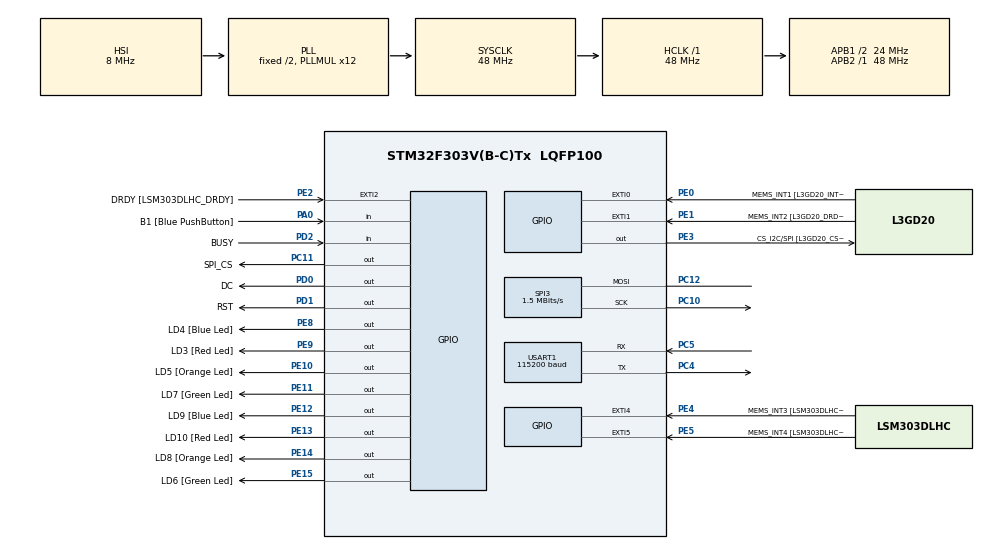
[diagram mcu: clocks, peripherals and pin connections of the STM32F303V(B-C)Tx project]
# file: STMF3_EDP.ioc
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Mcu.Family=STM32F3
Mcu.Name=STM32F303V(B-C)Tx
Mcu.Package=LQFP100
NVIC.PriorityGroup=NVIC_PRIORITYGROUP_0
PA0.GPIO_Label=B1 [Blue PushButton]
PA0.GPIO_Mode=GPIO_MODE_INPUT
PA0.GPIO_PuPd=GPIO_NOPULL
PA0.Signal=GPIO_Input
PA11.GPIO_Label=DM
PA11.Signal=USB_DM
PA12.GPIO_Label=DP
PA12.Signal=USB_DP
PA13.GPIO_Label=SWDIO
PA13.Signal=SYS_JTMS-SWDIO
PA14.GPIO_Label=SWCLK
PA14.Signal=SYS_JTCK-SWCLK
PA5.GPIO_Label=SPI1_SCK [L3GD20_SCL/SPC]
PA5.GPIO_Mode=GPIO_MODE_AF_PP
PA5.GPIO_PuPd=GPIO_NOPULL
PA5.GPIO_Speed=GPIO_SPEED_FREQ_LOW
PA5.Signal=SPI1_SCK
PA6.GPIO_Label=SPI1_MISO [L3GD20_SA0/SDO]
PA6.GPIO_Mode=GPIO_MODE_AF_PP
PA6.GPIO_PuPd=GPIO_NOPULL
PA6.GPIO_Speed=GPIO_SPEED_FREQ_LOW
PA6.Signal=SPI1_MISO
PA7.GPIO_Label=SPI1_MISO [L3GD20_SDA/SDI/SDO]
PA7.GPIO_Mode=GPIO_MODE_AF_PP
PA7.GPIO_PuPd=GPIO_NOPULL
PA7.GPIO_Speed=GPIO_SPEED_FREQ_LOW
PA7.Signal=SPI1_MOSI
PB3.GPIO_Label=SWO
PB3.Signal=SYS_JTDO-TRACESWO
PB6.GPIO_FM6=__NULL
PB6.GPIO_Label=I2C1_SCL [LSM303DLHC_SCL]
PB6.GPIO_Mode=GPIO_MODE_AF_OD
PB6.GPIO_PuPd=GPIO_NOPULL
PB6.GPIO_Speed=GPIO_SPEED_FREQ_LOW
PB6.Signal=I2C1_SCL
PB7.GPIO_FM7=__NULL
PB7.GPIO_Label=I2C1_SDA [LSM303DLHC_SDA]
PB7.GPIO_Mode=GPIO_MODE_AF_OD
PB7.GPIO_PuPd=GPIO_NOPULL
PB7.GPIO_Speed=GPIO_SPEED_FREQ_LOW
PB7.Signal=I2C1_SDA
PC10.Mode=Simplex_Bidirectional_Master
PC10.Signal=SPI3_SCK
PC11.GPIO_Label=SPI_CS
PC11.Signal=GPIO_Output
PC12.Mode=Simplex_Bidirectional_Master
PC12.Signal=SPI3_MOSI
PC14-OSC32_IN.GPIO_Label=OSC32_IN
PC14-OSC32_IN.Signal=RCC_OSC32_IN
PC15-OSC32_OUT.GPIO_Label=OSC32_OUT
PC15-OSC32_OUT.Signal=RCC_OSC32_OUT
PC4.GPIO_PuPd=GPIO_NOPULL
PC4.Mode=Asynchronous
PC4.Signal=USART1_TX
PC5.GPIO_ModeDefaultPP=GPIO_MODE_AF_PP
PC5.Mode=Asynchronous
PC5.Signal=USART1_RX
PD0.GPIO_Label=DC
PD0.Signal=GPIO_Output
PD1.GPIO_Label=RST
PD1.Signal=GPIO_Output
PD2.GPIO_Label=BUSY
PD2.Signal=GPIO_Input
PE0.GPIO_Label=MEMS_INT1 [L3GD20_INT1]
PE0.GPIO_ModeDefaultEXTI=GPIO_MODE_EVT_RISING
PE0.GPIO_PuPd=GPIO_NOPULL
PE0.Signal=GPXTI0
PE1.GPIO_Label=MEMS_INT2 [L3GD20_DRDY/INT2]
PE1.GPIO_ModeDefaultEXTI=GPIO_MODE_EVT_RISING
PE1.GPIO_PuPd=GPIO_NOPULL
PE1.Signal=GPXTI1
PE10.GPIO_Label=LD5 [Orange Led]
PE10.GPIO_ModeDefaultOutputPP=GPIO_MODE_OUTPUT_PP
PE10.GPIO_PuPd=GPIO_NOPULL
PE10.GPIO_Speed=GPIO_SPEED_FREQ_LOW
PE10.Signal=GPIO_Output
PE11.GPIO_Label=LD7 [Green Led]
PE11.GPIO_ModeDefaultOutputPP=GPIO_MODE_OUTPUT_PP
PE11.GPIO_PuPd=GPIO_NOPULL
PE11.GPIO_Speed=GPIO_SPEED_FREQ_LOW
PE11.Signal=GPIO_Output
PE12.GPIO_Label=LD9 [Blue Led]
PE12.GPIO_ModeDefaultOutputPP=GPIO_MODE_OUTPUT_PP
PE12.GPIO_PuPd=GPIO_NOPULL
PE12.GPIO_Speed=GPIO_SPEED_FREQ_LOW
PE12.Signal=GPIO_Output
PE13.GPIO_Label=LD10 [Red Led]
PE13.GPIO_ModeDefaultOutputPP=GPIO_MODE_OUTPUT_PP
PE13.GPIO_PuPd=GPIO_NOPULL
PE13.GPIO_Speed=GPIO_SPEED_FREQ_LOW
PE13.Signal=GPIO_Output
PE14.GPIO_Label=LD8 [Orange Led]
PE14.GPIO_ModeDefaultOutputPP=GPIO_MODE_OUTPUT_PP
PE14.GPIO_PuPd=GPIO_NOPULL
PE14.GPIO_Speed=GPIO_SPEED_FREQ_LOW
PE14.Signal=GPIO_Output
PE15.GPIO_Label=LD6 [Green Led]
PE15.GPIO_ModeDefaultOutputPP=GPIO_MODE_OUTPUT_PP
PE15.GPIO_PuPd=GPIO_NOPULL
PE15.GPIO_Speed=GPIO_SPEED_FREQ_LOW
PE15.Signal=GPIO_Output
PE2.GPIO_Label=DRDY [LSM303DLHC_DRDY]
PE2.GPIO_ModeDefaultEXTI=GPIO_MODE_EVT_RISING
PE2.GPIO_PuPd=GPIO_NOPULL
PE2.Signal=GPXTI2
PE3.GPIO_Label=CS_I2C/SPI [L3GD20_CS_I2C/SPI]
PE3.GPIO_ModeDefaultOutputPP=GPIO_MODE_OUTPUT_PP
PE3.GPIO_PuPd=GPIO_NOPULL
PE3.GPIO_Speed=GPIO_SPEED_FREQ_LOW
PE3.Signal=GPIO_Output
PE4.GPIO_Label=MEMS_INT3 [LSM303DLHC_INT1]
PE4.GPIO_ModeDefaultEXTI=GPIO_MODE_EVT_RISING
PE4.GPIO_PuPd=GPIO_NOPULL
PE4.Signal=GPXTI4
PE5.GPIO_Label=MEMS_INT4 [LSM303DLHC_INT2]
PE5.GPIO_ModeDefaultEXTI=GPIO_MODE_EVT_RISING
PE5.GPIO_PuPd=GPIO_NOPULL
PE5.Signal=GPXTI5
PE8.GPIO_Label=LD4 [Blue Led]
PE8.GPIO_ModeDefaultOutputPP=GPIO_MODE_OUTPUT_PP
PE8.GPIO_PuPd=GPIO_NOPULL
PE8.GPIO_Speed=GPIO_SPEED_FREQ_LOW
PE8.Signal=GPIO_Output
PE9.GPIO_Label=LD3 [Red Led]
PE9.GPIO_ModeDefaultOutputPP=GPIO_MODE_OUTPUT_PP
PE9.GPIO_PuPd=GPIO_NOPULL
PE9.GPIO_Speed=GPIO_SPEED_FREQ_LOW
PE9.Signal=GPIO_Output
PF0-OSC_IN.GPIO_Label=OSC_IN
PF0-OSC_IN.Signal=RCC_OSC_IN
PF1-OSC_OUT.GPIO_Label=OSC_OUT
PF1-OSC_OUT.Signal=RCC_OSC_OUT
ProjectManager.HeapSize=0x200
ProjectManager.StackSize=0x400
ProjectManager.TargetToolchain=SW4STM32
RCC.AHBFreq_Value=48000000
RCC.APB1CLKDivider=RCC_HCLK_DIV2
RCC.APB1Freq_Value=24000000
RCC.APB1TimFreq_Value=48000000
RCC.APB2Freq_Value=48000000
RCC.APB2TimFreq_Value=48000000
RCC.CortexFreq_Value=48000000
RCC.HCLKFreq_Value=48000000
RCC.HSE_VALUE=8000000
RCC.HSI_VALUE=8000000
RCC.LSE_VALUE=32768
RCC.PLLMUL=RCC_PLL_MUL12
RCC.SYSCLKFreq_VALUE=48000000
RCC.SYSCLKSourceVirtual=RCC_SYSCLKSOURCE_PLLCLK
RCC.USBFreq_Value=48000000
SPI3.BaudRatePrescaler=SPI_BAUDRATEPRESCALER_16
SPI3.CalculateBaudRate=1.5 MBits/s
SPI3.DataSize=SPI_DATASIZE_8BIT
SPI3.Direction=SPI_DIRECTION_1LINE
SPI3.Mode=SPI_MODE_MASTER
SPI3.NSSPMode=SPI_NSS_PULSE_DISABLE
SPI3.VirtualType=VM_MASTER
USART1.BaudRate=115200
USART1.VirtualMode-Asynchronous=VM_ASYNC
board=STM32F3DISCOVERY

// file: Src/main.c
/**
  ******************************************************************************
  * @file           : main.c
  * @brief          : Main program body
  ******************************************************************************
  ** This notice applies to any and all portions of this file
  * that are not between comment pairs USER CODE BEGIN and
  * USER CODE END. Other portions of this file, whether
  * inserted by the user or by software development tools
  * are owned by their respective copyright owners.
  *
  * COPYRIGHT(c) 2018 STMicroelectronics
  *
  * Redistribution and use in source and binary forms, with or without modification,
  * are permitted provided that the following conditions are met:
  *   1. Redistributions of source code must retain the above copyright notice,
  *      this list of conditions and the following disclaimer.
  *   2. Redistributions in binary form must reproduce the above copyright notice,
  *      this list of conditions and the following disclaimer in the documentation
  *      and/or other materials provided with the distribution.
  *   3. Neither the name of STMicroelectronics nor the names of its contributors
  *      may be used to endorse or promote products derived from this software
  *      without specific prior written permission.
  *
  * THIS SOFTWARE IS PROVIDED BY THE COPYRIGHT HOLDERS AND CONTRIBUTORS "AS IS"
  * AND ANY EXPRESS OR IMPLIED WARRANTIES, INCLUDING, BUT NOT LIMITED TO, THE
  * IMPLIED WARRANTIES OF MERCHANTABILITY AND FITNESS FOR A PARTICULAR PURPOSE ARE
  * DISCLAIMED. IN NO EVENT SHALL THE COPYRIGHT HOLDER OR CONTRIBUTORS BE LIABLE
  * FOR ANY DIRECT, INDIRECT, INCIDENTAL, SPECIAL, EXEMPLARY, OR CONSEQUENTIAL
  * DAMAGES (INCLUDING, BUT NOT LIMITED TO, PROCUREMENT OF SUBSTITUTE GOODS OR
  * SERVICES; LOSS OF USE, DATA, OR PROFITS; OR BUSINESS INTERRUPTION) HOWEVER
  * CAUSED AND ON ANY THEORY OF LIABILITY, WHETHER IN CONTRACT, STRICT LIABILITY,
  * OR TORT (INCLUDING NEGLIGENCE OR OTHERWISE) ARISING IN ANY WAY OUT OF THE USE
  * OF THIS SOFTWARE, EVEN IF ADVISED OF THE POSSIBILITY OF SUCH DAMAGE.
  *
  ******************************************************************************
  */
#include "main.h"
#include "stm32f3xx_hal.h"

/* USER CODE BEGIN Includes */
#include "epd1in54.h"
#include "epdif.h"
#include "epdpaint.h"
#include "imagedata.h"
#include <stdlib.h>
/* USER CODE END Includes */

SPI_HandleTypeDef hspi3;

UART_HandleTypeDef huart1;

/* USER CODE BEGIN PV */
/* Private variables ---------------------------------------------------------*/
#define COLORED      0
#define UNCOLORED    1
/* USER CODE END PV */

void SystemClock_Config(void);
static void MX_GPIO_Init(void);
static void MX_USART1_UART_Init(void);
static void MX_SPI3_Init(void);

/* USER CODE BEGIN PFP */
/* Private function prototypes -----------------------------------------------*/

/* USER CODE END PFP */

int main(void)
{
  /* USER CODE BEGIN 1 */
  /* you have to edit the startup_stm32fxxx.s file and set a big enough heap size */
  unsigned char* frame_buffer = (unsigned char*)malloc(EPD_WIDTH * EPD_HEIGHT / 8);
  char time_string[] = {'0', '0', ':', '0', '0', '\0'};
  unsigned long time_start_ms;
  unsigned long time_now_s;
  /* USER CODE END 1 */

  /* MCU Configuration----------------------------------------------------------*/

  /* Reset of all peripherals, Initializes the Flash interface and the Systick. */
  HAL_Init();

  /* Configure the system clock */
  SystemClock_Config();

  /* Initialize all configured peripherals */
  MX_GPIO_Init();
  MX_USART1_UART_Init();
  MX_SPI3_Init();
  /* USER CODE BEGIN 2 */
  printf("\n\r Welcome!!!\n\r");
  printf("\r\n This is STM32F3 Discovery e-Paper demo\r\n");

  EPD epd;
  if (EPD_Init(&epd, lut_full_update) != 0) {
	printf("e-Paper init failed\n");
	return -1;
  }

  Paint paint;
  Paint_Init(&paint, frame_buffer, epd.width, epd.height);
  Paint_Clear(&paint, UNCOLORED);

  /* For simplicity, the arguments are explicit numerical coordinates */
  /* Write strings to the buffer */
  Paint_DrawFilledRectangle(&paint, 0, 6, 200, 26, COLORED);
  Paint_DrawStringAt(&paint, 28, 10, "Hello world!", &Font16, UNCOLORED);
  Paint_DrawStringAt(&paint, 30, 30, "e-Paper Demo", &Font16, COLORED);

  /* Draw something to the frame buffer */
  Paint_DrawRectangle(&paint, 10, 60, 50, 110, COLORED);
  Paint_DrawLine(&paint, 10, 60, 50, 110, COLORED);
  Paint_DrawLine(&paint, 50, 60, 10, 110, COLORED);
  Paint_DrawCircle(&paint, 120, 80, 30, COLORED);
  Paint_DrawFilledRectangle(&paint, 10, 130, 50, 180, COLORED);
  Paint_DrawFilledCircle(&paint, 120, 150, 30, COLORED);

  /* Display the frame_buffer */
  EPD_SetFrameMemory(&epd, frame_buffer, 0, 0, Paint_GetWidth(&paint), Paint_GetHeight(&paint));
  EPD_DisplayFrame(&epd);
  EPD_DelayMs(&epd, 2000);

  if (EPD_Init(&epd, lut_partial_update) != 0) {
	printf("e-Paper init failed\n");
	return -1;
  }
  /**
   *  there are 2 memory areas embedded in the e-paper display
   *  and once the display is refreshed, the memory area will be auto-toggled,
   *  i.e. the next action of SetFrameMemory will set the other memory area
   *  therefore you have to set the frame memory and refresh the display twice.
   */
  EPD_SetFrameMemory(&epd, IMAGE_DATA, 0, 0, epd.width, epd.height);
  EPD_DisplayFrame(&epd);
  EPD_SetFrameMemory(&epd, IMAGE_DATA, 0, 0, epd.width, epd.height);
  EPD_DisplayFrame(&epd);

  time_start_ms = HAL_GetTick();
  /* USER CODE END 2 */

  /* Infinite loop */
  while (1)
  {

  /* USER CODE BEGIN 3 */
	time_now_s = (HAL_GetTick() - time_start_ms) / 1000;
	time_string[0] = time_now_s / 60 / 10 + '0';
	time_string[1] = time_now_s / 60 % 10 + '0';
	time_string[3] = time_now_s % 60 / 10 + '0';
	time_string[4] = time_now_s % 60 % 10 + '0';

	Paint_SetWidth(&paint, 32);
	Paint_SetHeight(&paint, 96);
	Paint_SetRotate(&paint, ROTATE_270);

	Paint_Clear(&paint, UNCOLORED);
	Paint_DrawStringAt(&paint, 0, 4, time_string, &Font24, COLORED);
	EPD_SetFrameMemory(&epd, frame_buffer, 80, 72, Paint_GetWidth(&paint), Paint_GetHeight(&paint));
	EPD_DisplayFrame(&epd);

	EPD_DelayMs(&epd, 500);
  }
  /* USER CODE END 3 */

}

void SystemClock_Config(void)
{

  RCC_OscInitTypeDef RCC_OscInitStruct;
  RCC_ClkInitTypeDef RCC_ClkInitStruct;
  RCC_PeriphCLKInitTypeDef PeriphClkInit;

    /**Initializes the CPU, AHB and APB busses clocks
    */
  RCC_OscInitStruct.OscillatorType = RCC_OSCILLATORTYPE_HSI;
  RCC_OscInitStruct.HSIState = RCC_HSI_ON;
  RCC_OscInitStruct.HSICalibrationValue = 16;
  RCC_OscInitStruct.PLL.PLLState = RCC_PLL_ON;
  RCC_OscInitStruct.PLL.PLLSource = RCC_PLLSOURCE_HSI;
  RCC_OscInitStruct.PLL.PLLMUL = RCC_PLL_MUL12;
  if (HAL_RCC_OscConfig(&RCC_OscInitStruct) != HAL_OK)
  {
    _Error_Handler(__FILE__, __LINE__);
  }

    /**Initializes the CPU, AHB and APB busses clocks
    */
  RCC_ClkInitStruct.ClockType = RCC_CLOCKTYPE_HCLK|RCC_CLOCKTYPE_SYSCLK
                              |RCC_CLOCKTYPE_PCLK1|RCC_CLOCKTYPE_PCLK2;
  RCC_ClkInitStruct.SYSCLKSource = RCC_SYSCLKSOURCE_PLLCLK;
  RCC_ClkInitStruct.AHBCLKDivider = RCC_SYSCLK_DIV1;
  RCC_ClkInitStruct.APB1CLKDivider = RCC_HCLK_DIV2;
  RCC_ClkInitStruct.APB2CLKDivider = RCC_HCLK_DIV1;

  if (HAL_RCC_ClockConfig(&RCC_ClkInitStruct, FLASH_LATENCY_1) != HAL_OK)
  {
    _Error_Handler(__FILE__, __LINE__);
  }

  PeriphClkInit.PeriphClockSelection = RCC_PERIPHCLK_USART1;
  PeriphClkInit.Usart1ClockSelection = RCC_USART1CLKSOURCE_PCLK2;
  if (HAL_RCCEx_PeriphCLKConfig(&PeriphClkInit) != HAL_OK)
  {
    _Error_Handler(__FILE__, __LINE__);
  }

    /**Configure the Systick interrupt time
    */
  HAL_SYSTICK_Config(HAL_RCC_GetHCLKFreq()/1000);

    /**Configure the Systick
    */
  HAL_SYSTICK_CLKSourceConfig(SYSTICK_CLKSOURCE_HCLK);

  /* SysTick_IRQn interrupt configuration */
  HAL_NVIC_SetPriority(SysTick_IRQn, 0, 0);
}

/* SPI3 init function */
static void MX_SPI3_Init(void)
{

  /* SPI3 parameter configuration*/
  hspi3.Instance = SPI3;
  hspi3.Init.Mode = SPI_MODE_MASTER;
  hspi3.Init.Direction = SPI_DIRECTION_1LINE;
  hspi3.Init.DataSize = SPI_DATASIZE_8BIT;
  hspi3.Init.CLKPolarity = SPI_POLARITY_LOW;
  hspi3.Init.CLKPhase = SPI_PHASE_1EDGE;
  hspi3.Init.NSS = SPI_NSS_SOFT;
  hspi3.Init.BaudRatePrescaler = SPI_BAUDRATEPRESCALER_16;
  hspi3.Init.FirstBit = SPI_FIRSTBIT_MSB;
  hspi3.Init.TIMode = SPI_TIMODE_DISABLE;
  hspi3.Init.CRCCalculation = SPI_CRCCALCULATION_DISABLE;
  hspi3.Init.CRCPolynomial = 7;
  hspi3.Init.CRCLength = SPI_CRC_LENGTH_DATASIZE;
  hspi3.Init.NSSPMode = SPI_NSS_PULSE_DISABLE;
  if (HAL_SPI_Init(&hspi3) != HAL_OK)
  {
    _Error_Handler(__FILE__, __LINE__);
  }

}

/* USART1 init function */
static void MX_USART1_UART_Init(void)
{

  huart1.Instance = USART1;
  huart1.Init.BaudRate = 115200;
  huart1.Init.WordLength = UART_WORDLENGTH_8B;
  huart1.Init.StopBits = UART_STOPBITS_1;
  huart1.Init.Parity = UART_PARITY_NONE;
  huart1.Init.Mode = UART_MODE_TX_RX;
  huart1.Init.HwFlowCtl = UART_HWCONTROL_NONE;
  huart1.Init.OverSampling = UART_OVERSAMPLING_16;
  huart1.Init.OneBitSampling = UART_ONE_BIT_SAMPLE_DISABLE;
  huart1.AdvancedInit.AdvFeatureInit = UART_ADVFEATURE_NO_INIT;
  if (HAL_UART_Init(&huart1) != HAL_OK)
  {
    _Error_Handler(__FILE__, __LINE__);
  }

}

/** Configure pins as
        * Analog
        * Input
        * Output
        * EVENT_OUT
        * EXTI
     PA5   ------> SPI1_SCK
     PA6   ------> SPI1_MISO
     PA7   ------> SPI1_MOSI
     PA11   ------> USB_DM
     PA12   ------> USB_DP
     PB6   ------> I2C1_SCL
     PB7   ------> I2C1_SDA
*/
static void MX_GPIO_Init(void)
{

  GPIO_InitTypeDef GPIO_InitStruct;

  /* GPIO Ports Clock Enable */
  __HAL_RCC_GPIOE_CLK_ENABLE();
  __HAL_RCC_GPIOC_CLK_ENABLE();
  __HAL_RCC_GPIOF_CLK_ENABLE();
  __HAL_RCC_GPIOA_CLK_ENABLE();
  __HAL_RCC_GPIOD_CLK_ENABLE();
  __HAL_RCC_GPIOB_CLK_ENABLE();

  /*Configure GPIO pin Output Level */
  HAL_GPIO_WritePin(GPIOE, CS_I2C_SPI_Pin|LD4_Pin|LD3_Pin|LD5_Pin
                          |LD7_Pin|LD9_Pin|LD10_Pin|LD8_Pin
                          |LD6_Pin, GPIO_PIN_RESET);

  /*Configure GPIO pin Output Level */
  HAL_GPIO_WritePin(SPI_CS_GPIO_Port, SPI_CS_Pin, GPIO_PIN_RESET);

  /*Configure GPIO pin Output Level */
  HAL_GPIO_WritePin(GPIOD, DC_Pin|RST_Pin, GPIO_PIN_RESET);

  /*Configure GPIO pins : DRDY_Pin MEMS_INT3_Pin MEMS_INT4_Pin MEMS_INT1_Pin
                           MEMS_INT2_Pin */
  GPIO_InitStruct.Pin = DRDY_Pin|MEMS_INT3_Pin|MEMS_INT4_Pin|MEMS_INT1_Pin
                          |MEMS_INT2_Pin;
  GPIO_InitStruct.Mode = GPIO_MODE_EVT_RISING;
  GPIO_InitStruct.Pull = GPIO_NOPULL;
  HAL_GPIO_Init(GPIOE, &GPIO_InitStruct);

  /*Configure GPIO pins : CS_I2C_SPI_Pin LD4_Pin LD3_Pin LD5_Pin
                           LD7_Pin LD9_Pin LD10_Pin LD8_Pin
                           LD6_Pin */
  GPIO_InitStruct.Pin = CS_I2C_SPI_Pin|LD4_Pin|LD3_Pin|LD5_Pin
                          |LD7_Pin|LD9_Pin|LD10_Pin|LD8_Pin
                          |LD6_Pin;
  GPIO_InitStruct.Mode = GPIO_MODE_OUTPUT_PP;
  GPIO_InitStruct.Pull = GPIO_NOPULL;
  GPIO_InitStruct.Speed = GPIO_SPEED_FREQ_LOW;
  HAL_GPIO_Init(GPIOE, &GPIO_InitStruct);

  /*Configure GPIO pin : B1_Pin */
  GPIO_InitStruct.Pin = B1_Pin;
  GPIO_InitStruct.Mode = GPIO_MODE_INPUT;
  GPIO_InitStruct.Pull = GPIO_NOPULL;
  HAL_GPIO_Init(B1_GPIO_Port, &GPIO_InitStruct);

  /*Configure GPIO pins : SPI1_SCK_Pin SPI1_MISO_Pin SPI1_MISOA7_Pin */
  GPIO_InitStruct.Pin = SPI1_SCK_Pin|SPI1_MISO_Pin|SPI1_MISOA7_Pin;
  GPIO_InitStruct.Mode = GPIO_MODE_AF_PP;
  GPIO_InitStruct.Pull = GPIO_NOPULL;
  GPIO_InitStruct.Speed = GPIO_SPEED_FREQ_LOW;
  GPIO_InitStruct.Alternate = GPIO_AF5_SPI1;
  HAL_GPIO_Init(GPIOA, &GPIO_InitStruct);

  /*Configure GPIO pins : DM_Pin DP_Pin */
  GPIO_InitStruct.Pin = DM_Pin|DP_Pin;
  GPIO_InitStruct.Mode = GPIO_MODE_AF_PP;
  GPIO_InitStruct.Pull = GPIO_NOPULL;
  GPIO_InitStruct.Speed = GPIO_SPEED_FREQ_HIGH;
  GPIO_InitStruct.Alternate = GPIO_AF14_USB;
  HAL_GPIO_Init(GPIOA, &GPIO_InitStruct);

  /*Configure GPIO pin : SPI_CS_Pin */
  GPIO_InitStruct.Pin = SPI_CS_Pin;
  GPIO_InitStruct.Mode = GPIO_MODE_OUTPUT_PP;
  GPIO_InitStruct.Pull = GPIO_NOPULL;
  GPIO_InitStruct.Speed = GPIO_SPEED_FREQ_LOW;
  HAL_GPIO_Init(SPI_CS_GPIO_Port, &GPIO_InitStruct);

  /*Configure GPIO pins : DC_Pin RST_Pin */
  GPIO_InitStruct.Pin = DC_Pin|RST_Pin;
  GPIO_InitStruct.Mode = GPIO_MODE_OUTPUT_PP;
  GPIO_InitStruct.Pull = GPIO_NOPULL;
  GPIO_InitStruct.Speed = GPIO_SPEED_FREQ_LOW;
  HAL_GPIO_Init(GPIOD, &GPIO_InitStruct);

  /*Configure GPIO pin : BUSY_Pin */
  GPIO_InitStruct.Pin = BUSY_Pin;
  GPIO_InitStruct.Mode = GPIO_MODE_INPUT;
  GPIO_InitStruct.Pull = GPIO_NOPULL;
  HAL_GPIO_Init(BUSY_GPIO_Port, &GPIO_InitStruct);

  /*Configure GPIO pins : I2C1_SCL_Pin I2C1_SDA_Pin */
  GPIO_InitStruct.Pin = I2C1_SCL_Pin|I2C1_SDA_Pin;
  GPIO_InitStruct.Mode = GPIO_MODE_AF_OD;
  GPIO_InitStruct.Pull = GPIO_PULLUP;
  GPIO_InitStruct.Speed = GPIO_SPEED_FREQ_LOW;
  GPIO_InitStruct.Alternate = GPIO_AF4_I2C1;
  HAL_GPIO_Init(GPIOB, &GPIO_InitStruct);

}

/* USER CODE BEGIN 4 */
#ifdef __GNUC__
  /* With GCC/RAISONANCE, small printf (option LD Linker->Libraries->Small printf
     set to 'Yes') calls __io_putchar() */
  #define PUTCHAR_PROTOTYPE int __io_putchar(int ch)
#else
  #define PUTCHAR_PROTOTYPE int fputc(int ch, FILE *f)
#endif /* __GNUC__ */
/**
  * @brief  Retargets the C library printf function to the USART.
  * @param  None
  * @retval None
  */
PUTCHAR_PROTOTYPE
{
  /* Place your implementation of fputc here */
  /* e.g. write a character to the EVAL_COM1 and Loop until the end of transmission */
  HAL_UART_Transmit(&huart1, (uint8_t *)&ch, 1, 0xFFFF);

  return ch;
}
/* USER CODE END 4 */

void _Error_Handler(char *file, int line)
{
  while(1)
  {
  }
}

/************************ (C) COPYRIGHT STMicroelectronics *****END OF FILE****/
